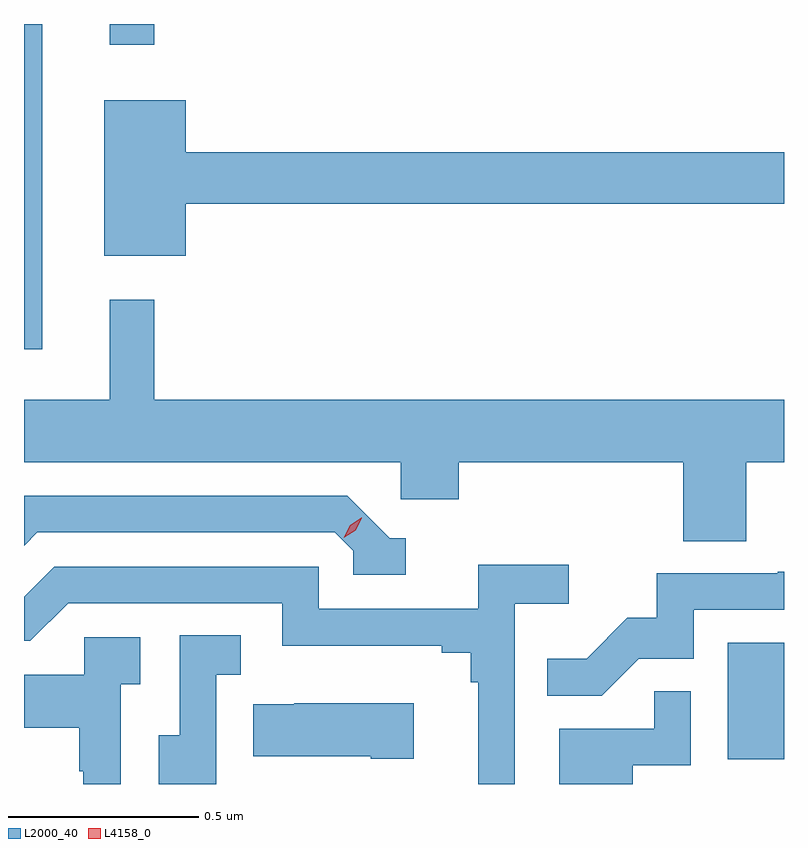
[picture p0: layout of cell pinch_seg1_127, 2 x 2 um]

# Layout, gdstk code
import gdstk
lib = gdstk.Library(unit=1e-6, precision=1e-09)
def R(c, l, rs):  # rectangles x0, y0, x1, y1
    for r in rs: c.add(gdstk.rectangle(r[:2], r[2:], *l))
def P(c, l, *ps):  # polygons
    for p in ps: c.add(gdstk.Polygon(p, *l))
L2000_40 = (2000, 40)
L4158_0 = (4158, 0)

pinch_seg1_127 = lib.new_cell('pinch_seg1_127')
R(pinch_seg1_127, L2000_40, [(1078.67,558.942,1078.818,559.249), (1076.818,560.021,1076.866,560.877), (1077.044,560.823,1077.161,560.877)])
P(pinch_seg1_127, L2000_40, [(1077.244,560.404),(1078.818,560.404),(1078.818,560.54),(1077.244,560.54),(1077.244,560.677),(1077.029,560.677),(1077.029,560.267),(1077.244,560.267)],
  [(1078.718,559.724),(1078.818,559.724),(1078.818,559.888),(1077.161,559.888),(1077.161,560.152),(1077.044,560.152),(1077.044,559.888),(1076.818,559.888),(1076.818,559.724),(1077.81,559.724),(1077.81,559.626),(1077.962,559.626),(1077.962,559.724),(1078.553,559.724),(1078.553,559.516),(1078.718,559.516)],
  [(1077.823,559.524),(1077.78,559.524),(1077.669,559.635),(1076.818,559.635),(1076.818,559.504),(1076.853,559.539),(1077.636,559.539),(1077.684,559.491),(1077.684,559.428),(1077.823,559.428)],
  [(1078.11,559.352),(1078.252,559.352),(1078.252,559.454),(1078.013,559.454),(1078.013,559.338),(1077.594,559.338),(1077.594,559.449),(1076.897,559.449),(1076.818,559.37),(1076.818,559.254),(1076.835,559.254),(1076.934,559.353),(1077.498,559.353),(1077.498,559.241),(1077.917,559.241),(1077.917,559.222),(1077.994,559.222),(1077.994,559.145),(1078.013,559.145),(1078.013,558.877),(1078.11,558.877)],
  [(1078.436,559.206),(1078.581,559.206),(1078.581,559.335),(1078.818,559.335),(1078.818,559.436),(1078.801,559.436),(1078.801,559.431),(1078.483,559.431),(1078.483,559.314),(1078.406,559.314),(1078.299,559.207),(1078.195,559.207),(1078.195,559.109),(1078.339,559.109)],
  [(1077.324,559.165),(1077.388,559.165),(1077.388,559.268),(1077.228,559.268),(1077.228,559.005),(1077.173,559.005),(1077.173,558.877),(1077.324,558.877)],
  [(1077.072,559.139),(1077.124,559.139),(1077.124,559.263),(1076.976,559.263),(1076.976,559.165),(1076.818,559.165),(1076.818,559.025),(1076.964,559.025),(1076.964,558.911),(1076.974,558.911),(1076.974,558.877),(1077.072,558.877)],
  [(1078.42,558.927),(1078.572,558.927),(1078.572,559.121),(1078.477,559.121),(1078.477,559.023),(1078.226,559.023),(1078.226,558.877),(1078.42,558.877)],
  [(1077.844,559.09),(1077.529,559.09),(1077.529,559.087),(1077.421,559.087),(1077.421,558.95),(1077.731,558.95),(1077.731,558.943),(1077.844,558.943)])
P(pinch_seg1_127, L4158_0, [(1077.66,559.525),(1077.66,559.525),(1077.676,559.558),(1077.706,559.578),(1077.707,559.578),(1077.707,559.578),(1077.691,559.545),(1077.66,559.525)])

lib.write_gds('pinch_seg1_127.gds')
